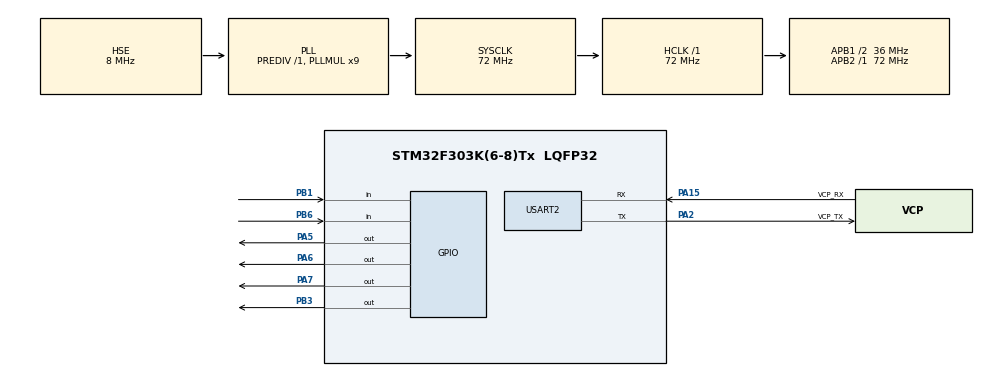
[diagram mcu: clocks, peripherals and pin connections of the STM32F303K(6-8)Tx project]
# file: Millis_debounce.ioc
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Mcu.Family=STM32F3
Mcu.Name=STM32F303K(6-8)Tx
Mcu.Package=LQFP32
NVIC.PriorityGroup=NVIC_PRIORITYGROUP_4
NVIC.TIM2_IRQn=true\:0\:0\:false\:false\:true\:true\:true
PA13.GPIO_Label=SWDIO
PA13.Mode=Serial_Wire
PA13.Signal=SYS_JTMS-SWDIO
PA14.GPIO_Label=SWCLK
PA14.Mode=Serial_Wire
PA14.Signal=SYS_JTCK-SWCLK
PA15.GPIO_Label=VCP_RX
PA15.Mode=Asynchronous
PA15.Signal=USART2_RX
PA2.GPIO_Label=VCP_TX
PA2.Mode=Asynchronous
PA2.Signal=USART2_TX
PA5.Signal=GPIO_Output
PA6.Signal=GPIO_Output
PA7.Signal=GPIO_Output
PB1.Signal=GPIO_Input
PB3.Signal=GPIO_Output
PB6.Signal=GPIO_Input
PF0\ /\ OSC_IN.GPIO_Label=MCO
PF0\ /\ OSC_IN.Mode=HSE-External-Oscillator
PF0\ /\ OSC_IN.Signal=RCC_OSC_IN
PF1\ /\ OSC_OUT.Mode=HSE-External-Oscillator
PF1\ /\ OSC_OUT.Signal=RCC_OSC_OUT
ProjectManager.HeapSize=0x200
ProjectManager.StackSize=0x400
ProjectManager.TargetToolchain=STM32CubeIDE
RCC.AHBFreq_Value=72000000
RCC.APB1CLKDivider=RCC_HCLK_DIV2
RCC.APB1Freq_Value=36000000
RCC.APB1TimFreq_Value=72000000
RCC.APB2Freq_Value=72000000
RCC.APB2TimFreq_Value=72000000
RCC.CortexFreq_Value=72000000
RCC.HCLKFreq_Value=72000000
RCC.HSE_VALUE=8000000
RCC.HSI_VALUE=8000000
RCC.PLLMUL=RCC_PLL_MUL9
RCC.PLLSourceVirtual=RCC_PLLSOURCE_HSE
RCC.SYSCLKFreq_VALUE=72000000
RCC.SYSCLKSourceVirtual=RCC_SYSCLKSOURCE_PLLCLK
TIM2.Period=100
TIM2.Prescaler=720
USART2.VirtualMode-Asynchronous=VM_ASYNC
VP_TIM2_VS_ClockSourceINT.Mode=Internal
board=NUCLEO-F303K8

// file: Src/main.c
/* USER CODE BEGIN Header */
/**
  ******************************************************************************
  * @file           : main.c
  * @brief          : Main program body
  ******************************************************************************
  * @attention
  *
  * <h2><center>&copy; Copyright (c) 2021 STMicroelectronics.
  * All rights reserved.</center></h2>
  *
  * This software component is licensed by ST under BSD 3-Clause license,
  * the "License"; You may not use this file except in compliance with the
  * License. You may obtain a copy of the License at:
  *                        opensource.org/licenses/BSD-3-Clause
  *
  ******************************************************************************
  */
/* USER CODE END Header */
#include "main.h"

TIM_HandleTypeDef htim2;

UART_HandleTypeDef huart2;

void SystemClock_Config(void);
static void MX_GPIO_Init(void);
static void MX_USART2_UART_Init(void);
static void MX_TIM2_Init(void);
/* USER CODE BEGIN PFP */

//Remap printf function to be used
#ifdef __GNUC__

	#define PUTCHAR_PROTOTYPE int __io_putchar(int ch)
#else
	#define PUTCHAR_PROTORYPE int fputc (int ch, FILE *f)

#endif /* __GNUC__*/

PUTCHAR_PROTOTYPE
{
	HAL_UART_Transmit(&huart2, (uint8_t *)&ch, 1, 0xFFFF);

	return ch;
}

/* USER CODE END PFP */

/* USER CODE BEGIN 0 */

// Variable for millis
uint32_t counter=0;
uint32_t deltaT=0;
uint32_t Tprev=0;

/**
 * @brief function to return the curren value of the
 * program in milliseconds
 * @return uint32_t
 */
uint32_t millis(void)
{
	return counter;
}

/* USER CODE END 0 */

int main(void)
{

  /* MCU Configuration--------------------------------------------------------*/

  /* Reset of all peripherals, Initializes the Flash interface and the Systick. */
  HAL_Init();

  /* Configure the system clock */
  SystemClock_Config();

  /* Initialize all configured peripherals */
  MX_GPIO_Init();
  MX_USART2_UART_Init();
  MX_TIM2_Init();
  /* USER CODE BEGIN 2 */

  //Initialize the LED Matrix
  max_init();

  //Initialize TIM2
  HAL_TIM_Base_Start_IT(&htim2);

  /* USER CODE END 2 */

  /* Infinite loop */
  /* USER CODE BEGIN WHILE */

  //Debounce
  int lastY=GPIO_PIN_RESET;
  int buttonstateY=0;
  uint32_t lastDebounceY=0;
  int debounceDelay=10;

  while (1)
  {
	  //Read buttons
	  GPIO_PinState stateY=HAL_GPIO_ReadPin(GPIOB, GPIO_PIN_6);
	  // If the switch changed, due to noise or pressing:
	  if (stateY != lastY) {
	    // reset the debouncing timer
		  lastDebounceY = millis();
	  }
	  if ((millis() - lastDebounceY) > debounceDelay) {
	    // whatever the reading is at, it's been there for longer than the debounce
	    // delay, so take it as the actual current state:

	    // if the button state has changed:
	    if (stateY != buttonstateY) {
	    	buttonstateY = stateY;

	      // only make shift if the button is push
	      if (buttonstateY == 1) {
	    	  HAL_GPIO_TogglePin(GPIO3, GPIO_PIN_3);
	      }
	    }
	  }
	  lastY = stateY;

    /* USER CODE END WHILE */

  }
}

void SystemClock_Config(void)
{
  RCC_OscInitTypeDef RCC_OscInitStruct = {0};
  RCC_ClkInitTypeDef RCC_ClkInitStruct = {0};

  /** Initializes the RCC Oscillators according to the specified parameters
  * in the RCC_OscInitTypeDef structure.
  */
  RCC_OscInitStruct.OscillatorType = RCC_OSCILLATORTYPE_HSE;
  RCC_OscInitStruct.HSEState = RCC_HSE_ON;
  RCC_OscInitStruct.HSEPredivValue = RCC_HSE_PREDIV_DIV1;
  RCC_OscInitStruct.HSIState = RCC_HSI_ON;
  RCC_OscInitStruct.PLL.PLLState = RCC_PLL_ON;
  RCC_OscInitStruct.PLL.PLLSource = RCC_PLLSOURCE_HSE;
  RCC_OscInitStruct.PLL.PLLMUL = RCC_PLL_MUL9;
  if (HAL_RCC_OscConfig(&RCC_OscInitStruct) != HAL_OK)
  {
    Error_Handler();
  }
  /** Initializes the CPU, AHB and APB buses clocks
  */
  RCC_ClkInitStruct.ClockType = RCC_CLOCKTYPE_HCLK|RCC_CLOCKTYPE_SYSCLK
                              |RCC_CLOCKTYPE_PCLK1|RCC_CLOCKTYPE_PCLK2;
  RCC_ClkInitStruct.SYSCLKSource = RCC_SYSCLKSOURCE_PLLCLK;
  RCC_ClkInitStruct.AHBCLKDivider = RCC_SYSCLK_DIV1;
  RCC_ClkInitStruct.APB1CLKDivider = RCC_HCLK_DIV2;
  RCC_ClkInitStruct.APB2CLKDivider = RCC_HCLK_DIV1;

  if (HAL_RCC_ClockConfig(&RCC_ClkInitStruct, FLASH_LATENCY_2) != HAL_OK)
  {
    Error_Handler();
  }
}

static void MX_TIM2_Init(void)
{

  TIM_ClockConfigTypeDef sClockSourceConfig = {0};
  TIM_MasterConfigTypeDef sMasterConfig = {0};

  htim2.Instance = TIM2;
  htim2.Init.Prescaler = 720;
  htim2.Init.CounterMode = TIM_COUNTERMODE_UP;
  htim2.Init.Period = 100;
  htim2.Init.ClockDivision = TIM_CLOCKDIVISION_DIV1;
  htim2.Init.AutoReloadPreload = TIM_AUTORELOAD_PRELOAD_DISABLE;
  if (HAL_TIM_Base_Init(&htim2) != HAL_OK)
  {
    Error_Handler();
  }
  sClockSourceConfig.ClockSource = TIM_CLOCKSOURCE_INTERNAL;
  if (HAL_TIM_ConfigClockSource(&htim2, &sClockSourceConfig) != HAL_OK)
  {
    Error_Handler();
  }
  sMasterConfig.MasterOutputTrigger = TIM_TRGO_RESET;
  sMasterConfig.MasterSlaveMode = TIM_MASTERSLAVEMODE_DISABLE;
  if (HAL_TIMEx_MasterConfigSynchronization(&htim2, &sMasterConfig) != HAL_OK)
  {
    Error_Handler();
  }

}

static void MX_USART2_UART_Init(void)
{

  huart2.Instance = USART2;
  huart2.Init.BaudRate = 38400;
  huart2.Init.WordLength = UART_WORDLENGTH_8B;
  huart2.Init.StopBits = UART_STOPBITS_1;
  huart2.Init.Parity = UART_PARITY_NONE;
  huart2.Init.Mode = UART_MODE_TX_RX;
  huart2.Init.HwFlowCtl = UART_HWCONTROL_NONE;
  huart2.Init.OverSampling = UART_OVERSAMPLING_16;
  huart2.Init.OneBitSampling = UART_ONE_BIT_SAMPLE_DISABLE;
  huart2.AdvancedInit.AdvFeatureInit = UART_ADVFEATURE_NO_INIT;
  if (HAL_UART_Init(&huart2) != HAL_OK)
  {
    Error_Handler();
  }

}

static void MX_GPIO_Init(void)
{
  GPIO_InitTypeDef GPIO_InitStruct = {0};

  /* GPIO Ports Clock Enable */
  __HAL_RCC_GPIOF_CLK_ENABLE();
  __HAL_RCC_GPIOA_CLK_ENABLE();
  __HAL_RCC_GPIOB_CLK_ENABLE();

  /*Configure GPIO pin Output Level */
  HAL_GPIO_WritePin(GPIOA, GPIO_PIN_5|GPIO_PIN_6|GPIO_PIN_7, GPIO_PIN_RESET);

  /*Configure GPIO pin Output Level */
  HAL_GPIO_WritePin(GPIOB, GPIO_PIN_3, GPIO_PIN_RESET);

  /*Configure GPIO pins : PA5 PA6 PA7 */
  GPIO_InitStruct.Pin = GPIO_PIN_5|GPIO_PIN_6|GPIO_PIN_7;
  GPIO_InitStruct.Mode = GPIO_MODE_OUTPUT_PP;
  GPIO_InitStruct.Pull = GPIO_NOPULL;
  GPIO_InitStruct.Speed = GPIO_SPEED_FREQ_LOW;
  HAL_GPIO_Init(GPIOA, &GPIO_InitStruct);

  /*Configure GPIO pins : PB1 PB6 */
  GPIO_InitStruct.Pin = GPIO_PIN_1|GPIO_PIN_6;
  GPIO_InitStruct.Mode = GPIO_MODE_INPUT;
  GPIO_InitStruct.Pull = GPIO_NOPULL;
  HAL_GPIO_Init(GPIOB, &GPIO_InitStruct);

  /*Configure GPIO pin : PB3 */
  GPIO_InitStruct.Pin = GPIO_PIN_3;
  GPIO_InitStruct.Mode = GPIO_MODE_OUTPUT_PP;
  GPIO_InitStruct.Pull = GPIO_NOPULL;
  GPIO_InitStruct.Speed = GPIO_SPEED_FREQ_LOW;
  HAL_GPIO_Init(GPIOB, &GPIO_InitStruct);

}

/* USER CODE BEGIN 4 */

/**
 * @brief Function to increase our variable counter
 * when our interruption TIM 2 is executed
 * @param Pointer to interruption
 */

void HAL_TIM_PeriodElapsedCallback(TIM_HandleTypeDef *htim2)
{
	counter ++;
}

/* USER CODE END 4 */

void Error_Handler(void)
{
  /* USER CODE BEGIN Error_Handler_Debug */
  /* User can add his own implementation to report the HAL error return state */
  //__disable_irq();
  //while (1)
  //{
  //}
  /* USER CODE END Error_Handler_Debug */
}

/************************ (C) COPYRIGHT STMicroelectronics *****END OF FILE****/
